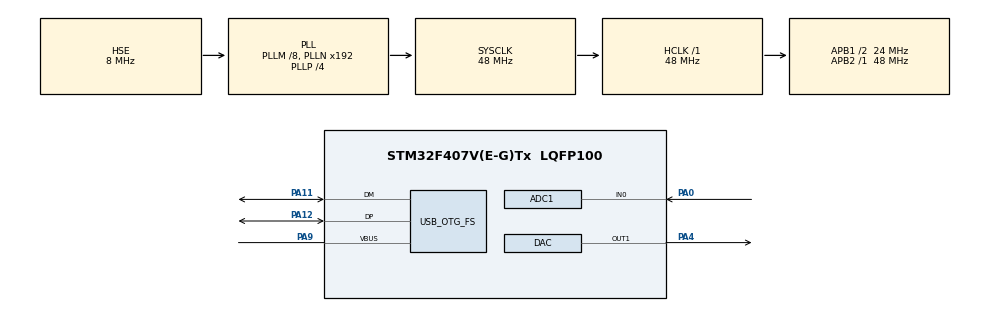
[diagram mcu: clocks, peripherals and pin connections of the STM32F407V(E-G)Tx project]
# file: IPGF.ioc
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ADC1.Channel-0\#ChannelRegularConversion=ADC_CHANNEL_0
ADC1.ClockPrescaler=ADC_CLOCK_SYNC_PCLK_DIV8
ADC1.ExternalTrigConv=ADC_EXTERNALTRIGCONV_T2_TRGO
ADC1.NbrOfConversionFlag=1
ADC1.Rank-0\#ChannelRegularConversion=1
ADC1.SamplingTime-0\#ChannelRegularConversion=ADC_SAMPLETIME_3CYCLES
ADC1.ScanConvMode=ENABLE
ADC1.master=1
DAC.DAC_OutputBuffer=DAC_OUTPUTBUFFER_ENABLE
Dma.ADC1.0.Direction=DMA_PERIPH_TO_MEMORY
Dma.ADC1.0.FIFOMode=DMA_FIFOMODE_DISABLE
Dma.ADC1.0.Instance=DMA2_Stream0
Dma.ADC1.0.MemDataAlignment=DMA_MDATAALIGN_HALFWORD
Dma.ADC1.0.MemInc=DMA_MINC_ENABLE
Dma.ADC1.0.Mode=DMA_NORMAL
Dma.ADC1.0.PeriphDataAlignment=DMA_PDATAALIGN_HALFWORD
Dma.ADC1.0.PeriphInc=DMA_PINC_DISABLE
Dma.ADC1.0.Priority=DMA_PRIORITY_LOW
Dma.Request0=ADC1
Mcu.Family=STM32F4
Mcu.Name=STM32F407V(E-G)Tx
Mcu.Package=LQFP100
NVIC.DMA2_Stream0_IRQn=true\:0\:0\:false\:false\:false\:false\:false
NVIC.OTG_FS_IRQn=true\:0\:0\:false\:false\:true\:false\:true
NVIC.PriorityGroup=NVIC_PRIORITYGROUP_4
NVIC.TIM2_IRQn=true\:0\:0\:false\:false\:true\:true\:true
PA0-WKUP.Signal=ADCx_IN0
PA11.Mode=Device_Only
PA11.Signal=USB_OTG_FS_DM
PA12.Mode=Device_Only
PA12.Signal=USB_OTG_FS_DP
PA13.Mode=Trace_Asynchronous_SW
PA13.Signal=SYS_JTMS-SWDIO
PA14.Mode=Trace_Asynchronous_SW
PA14.Signal=SYS_JTCK-SWCLK
PA4.Signal=COMP_DAC1_group
PA9.Mode=Activate_VBUS
PA9.Signal=USB_OTG_FS_VBUS
PB3.Mode=Trace_Asynchronous_SW
PB3.Signal=SYS_JTDO-SWO
PH0-OSC_IN.Mode=HSE-External-Oscillator
PH0-OSC_IN.Signal=RCC_OSC_IN
PH1-OSC_OUT.Mode=HSE-External-Oscillator
PH1-OSC_OUT.Signal=RCC_OSC_OUT
ProjectManager.HeapSize=0x200
ProjectManager.StackSize=0x400
ProjectManager.TargetToolchain=MDK-ARM V5.27
RCC.48MHZClocksFreq_Value=48000000
RCC.AHBFreq_Value=48000000
RCC.APB1CLKDivider=RCC_HCLK_DIV2
RCC.APB1Freq_Value=24000000
RCC.APB1TimFreq_Value=48000000
RCC.APB2Freq_Value=48000000
RCC.APB2TimFreq_Value=48000000
RCC.CortexFreq_Value=48000000
RCC.HCLKFreq_Value=48000000
RCC.HSE_VALUE=8000000
RCC.HSI_VALUE=16000000
RCC.LSE_VALUE=32768
RCC.PLLM=8
RCC.PLLP=RCC_PLLP_DIV4
RCC.SYSCLKFreq_VALUE=48000000
RCC.SYSCLKSource=RCC_SYSCLKSOURCE_PLLCLK
RCC.VCOOutputFreq_Value=192000000
SH.ADCx_IN0.0=ADC1_IN0,IN0
SH.COMP_DAC1_group.0=DAC_OUT1,DAC_OUT1
TIM2.Period=4799
TIM2.TIM_MasterOutputTrigger=TIM_TRGO_UPDATE
USB_DEVICE.CLASS_NAME_FS=CDC
USB_DEVICE.VirtualMode-CDC_FS=Cdc
USB_DEVICE.VirtualModeFS=Cdc_FS
USB_OTG_FS.VirtualMode=Device_Only
VP_TIM2_VS_ClockSourceINT.Mode=Internal
VP_USB_DEVICE_VS_USB_DEVICE_CDC_FS.Mode=CDC_FS
board=custom

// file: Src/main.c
/* USER CODE BEGIN Header */
/**
  ******************************************************************************
  * @file           : main.c
  * @brief          : Main program body
  ******************************************************************************
  * @attention
  *
  * <h2><center>&copy; Copyright (c) 2020 STMicroelectronics.
  * All rights reserved.</center></h2>
  *
  * This software component is licensed by ST under Ultimate Liberty license
  * SLA0044, the "License"; You may not use this file except in compliance with
  * the License. You may obtain a copy of the License at:
  *                             www.st.com/SLA0044
  *
  ******************************************************************************
  */
/* USER CODE END Header */

#include "main.h"
#include "adc.h"
#include "dac.h"
#include "dma.h"
#include "tim.h"
#include "usb_device.h"
#include "gpio.h"

/* USER CODE BEGIN Includes */
#include <stdlib.h>
#include "usbd_cdc_if.h"

/* USER CODE END Includes */

/* USER CODE BEGIN PV */
VAR v;
DMA_HandleTypeDef adc_dma;
osRtxMutex_t *mt;
osRtxThread_t *main_thread;
osRtxThread_t *adc_thread;

DECLARE_THREAD_ATTR(main,256,osPriorityNormal);
DECLARE_THREAD_ATTR(adc,256,osPriorityNormal);
/* USER CODE END PV */

void SystemClock_Config(void);

/* USER CODE BEGIN 0 */

/**
  * @brief  Вычисление среднего значения входного массива.
  * @param  buf - входной массив
  * @param  cnt - размер массива
  * @retval average value
  */

U32 os_calc_average(U16 *buf,U32 cnt)
{
 U32 res,i;
 res=0;
 for(i=0;i<cnt;i++)
  res+=buf[i];
 return res/cnt;
}

/**
  * @brief  Функция осуществляет перевод числа в строку. Строка без завершающего "0"
  * @param  val - входное значение
  * @param  str - выходная строка
  * @param  symbol_qty - максимальное число значащих символов(разрядов)
  * @retval длина выходной строки
  */

U32 os_int2str(U32 val,U8* str,U8 symbol_qty)
{
U32 sval,i;
 if ((str==0)||(symbol_qty==0))
  return 0;
 if (val==0)//проверка значения на ноль
  {str[0]='0';return 1;}// результирующая строка -"0" длиной 1
 i=0;sval=val;//подсчет десятичных разрядов в исходном числе
 while(val!=0)
 {
  i++;
  val=val/10;
 }
 if (i>symbol_qty)//Количество разрядов превышает заданое?
  i=symbol_qty;//если превышает,то установить заданое
 symbol_qty=i; //установить возвращаемую длину
 while((sval!=0)&&(i!=0))//проверка числа на 0 и на нулевую позицию
 {
  str[i-1]='0'+sval%10;//запись разряда числа в позицию справа
  sval/=10;//отбрость разряд
  i--;//сдвинуть позицию символа на 1 влево
 }
 return symbol_qty;
}

U32 HAL_GetTick(void)
{
return osRtxInfo.kernel.tick;
//return 0;
//return os_core.dwt->CYCCNT/(SystemCoreClock/1000);
}

/**
  * @brief  Вывод буфера через ITM-порт .
  * @param  buf - входной массив
  * @param  cnt - размер массива
  * @retval none
  */

void os_keil_write(U8* buf,U32 cnt)
{
 U32 i;
 for(i=0;i<cnt;i++)
 {
  ITM_SendChar(buf[i]);
 }
}

/**
  * @brief  Инициализация DMA ADC
  * @param  dma - адрес управляющей структуры DMA_HandleTypeDef
  * @retval none
  */

void os_adc_dma_init(DMA_HandleTypeDef *dma)
{
    dma->Instance = DMA2_Stream0;
    dma->Init.Channel = DMA_CHANNEL_0;
    dma->Init.Direction = DMA_PERIPH_TO_MEMORY;
    dma->Init.PeriphInc = DMA_PINC_DISABLE;
    dma->Init.MemInc = DMA_MINC_ENABLE;
    dma->Init.PeriphDataAlignment = DMA_PDATAALIGN_HALFWORD;
    dma->Init.MemDataAlignment = DMA_MDATAALIGN_HALFWORD;
    dma->Init.Mode = DMA_NORMAL;
    dma->Init.Priority = DMA_PRIORITY_LOW;
    dma->Init.FIFOMode = DMA_FIFOMODE_DISABLE;
    HAL_DMA_Init(dma);
}

/**
  * @brief  Функция обратного вызова,срабатывающая при возникновении события обновления счетчика таймера
  * @param  htim - адрес управляющей структуры TIM_HandleTypeDef
  * @retval none
  */

void HAL_TIM_PeriodElapsedCallback(TIM_HandleTypeDef *htim)
{
 if (htim==&htim2)
 {
  v.dac_cnt=(v.dac_cnt+1)%(ADC_SAMPLE_RATE/DAC_SAMPLE_RATE);// Увеличение счетчика количества прерываний таймера по модулю ADC_SAMPLE_RATE/DAC_SAMPLE_RATE
  if (v.dac_cnt==0)
  {
   LL_DAC_ConvertData12LeftAligned
      (DAC1,
       LL_DAC_CHANNEL_1,
       os_calc_average(v.buf.dac[v.dac_position],ADC_SAMPLE_RATE/DAC_SAMPLE_RATE)
      );// Запись в ЦАП усредненного значения в 100 выборок
   v.dac_position=(v.dac_position+1)%DAC_SAMPLE_RATE;// Увеличение счетчика позиции во входном буфере
  }
 }
}

/**
  * @brief  Функция работы АЦП.
  * @retval none
  */
void os_adc_run()
{
 while(1)
 {
  HAL_DMA_Start(&adc_dma,OS_TYPE(U32,&ADC1->DR),OS_TYPE(U32,&v.buf),10000);//Установка источника и приемника данных для DMA. Установка размера передаваемых данных и разрешение работы DMA*/
  LL_ADC_REG_SetDMATransfer(ADC1,LL_ADC_REG_DMA_TRANSFER_LIMITED);//Включение режима чтения данных АЦП через DMA
  LL_ADC_Enable(ADC1);// Включение АЦП
  LL_ADC_ClearFlag_EOCS(ADC1);//Очистка флага окончание преобразования
  LL_ADC_ClearFlag_OVR(ADC1);//Очистка флага переполнения. Обеспечение отсутствия неизвестного состояния от предыдущих измерений

  HAL_TIM_Base_Start_IT(&htim2);//Старт таймера TIM2 с устанавливаемым флагом прерывания по обновлению счетчика
  if (HAL_DMA_PollForTransfer(&adc_dma,HAL_DMA_FULL_TRANSFER,1500)==HAL_TIMEOUT) // Опрос флага окончания передачи DMA
  {
   MX_ADC1_Init();//при таймауте - переинициализация АЦП и
   continue;//прозвести измерения снова
  }
  else break;
 }
 HAL_TIM_Base_Stop(&htim2);//останов TIM2
 LL_ADC_Disable(ADC1);//Выключение АЦП
 CLEAR_BIT(ADC1->CR2,ADC_CR2_DMA);//Выключение режима DMA
 return;
}

/**
  * @brief  Функция основного потока
  * @retval none
  */
__NO_RETURN void main_threadf (void *argument)
{
 U32 len;
  MX_GPIO_Init();//Инициализация GPIO
  MX_USB_DEVICE_Init();//Инициализация USB CDC
  mt=osMutexNew(NULL);//Создание мютекса для доступа к разделяемой переменной v.average
  osThreadFlagsSet(adc_thread,APP_THREAD_FLAGS_START);// Сигнал потоку adc_thread для начала работы
  while (1)
  {
   osThreadFlagsWait(APP_THREAD_FLAGS_END_MEASURE,osFlagsWaitAny,osWaitForever);// Ожидание сигнала окончания преобразования
   if (osMutexAcquire(mt,10)==osOK)//Блокировать мютекс в течении 10 мс
   {
    len=os_int2str(v.average,v.out,4);//Перевод полученного среднего значения в строку
    memcpy(v.out+len," mV\r\n",6);// Добавление к этой строке смыслового окончания
    len=strlen(OS_TYPE(const char*,v.out));//Подсчет общей длины строки
    os_keil_write(v.out,len);//Вывод в терминал Keil'a строки
    if (hUsbDeviceFS.dev_state==USBD_STATE_CONFIGURED)// Проверить состояние устройства USB CDC
     CDC_Transmit_FS(v.out,len);// Если сконфигурировано,то вывести в USB
    osMutexRelease(mt); // Освобождение мютекса
   }
   else __nop();
  }
}

/**
  * @brief  Функция потока, производящего измерение с АЦП
  * @retval none
  */
__NO_RETURN void adc_threadf (void *argument)
{
  MX_DMA_Init();// Включить тактирование DMA
  MX_ADC1_Init();// Инициализация АЦП
  os_adc_dma_init(&adc_dma);//Инициализация DMA
  MX_DAC_Init();//Инициализация ЦАП
  MX_TIM2_Init();//Инициализация таймера TIM2
  osThreadFlagsWait(APP_THREAD_FLAGS_START,osFlagsWaitAny,osWaitForever);// Ожидать окончания инициализации периферийных устройств в главном потоке
  while (1)
  {
   os_adc_run();// Произвести измерения
   v.counter++;// Изменение счетчика "живучести"
   if (osMutexAcquire(mt,50)==osOK)//Блокировать мютекс в течении 50 мс
   {
    v.average=os_calc_average(v.buf.adc_sample,ADC_SAMPLE_RATE);//Подсчет среднего значения
    osMutexRelease(mt); //Освободить мютекс
    osThreadFlagsSet(main_thread,APP_THREAD_FLAGS_END_MEASURE);// Сигнализировать главному потоку об окончании цикла измерения
   }
  }
}

/* USER CODE END 0 */

int main(void)
{

  /* MCU Configuration--------------------------------------------------------*/

  /* Reset of all peripherals, Initializes the Flash interface and the Systick. */
  HAL_Init();

  /* Configure the system clock */
  SystemClock_Config();

  /* USER CODE BEGIN SysInit */
 __enable_irq();
	osKernelInitialize();                 // Инициализация CMSIS-RTOS
	main_thread=osThreadNew(main_threadf, NULL, &os_main_thread_attr);  // Создание главного потока
	adc_thread =osThreadNew(adc_threadf, NULL, &os_adc_thread_attr);    // Создание потока АЦП
	if (osKernelGetState() == osKernelReady)
	{
		osKernelStart();                    // Старт RTOS
	}
  /* USER CODE END SysInit */
}

void SystemClock_Config(void)
{
  RCC_OscInitTypeDef RCC_OscInitStruct = {0};
  RCC_ClkInitTypeDef RCC_ClkInitStruct = {0};

  /** Configure the main internal regulator output voltage
  */
  __HAL_RCC_PWR_CLK_ENABLE();
  __HAL_PWR_VOLTAGESCALING_CONFIG(PWR_REGULATOR_VOLTAGE_SCALE1);
  /** Initializes the CPU, AHB and APB busses clocks
  */
  RCC_OscInitStruct.OscillatorType = RCC_OSCILLATORTYPE_HSE;
  RCC_OscInitStruct.HSEState = RCC_HSE_ON;
  RCC_OscInitStruct.PLL.PLLState = RCC_PLL_ON;
  RCC_OscInitStruct.PLL.PLLSource = RCC_PLLSOURCE_HSE;
  RCC_OscInitStruct.PLL.PLLM = 8;
  RCC_OscInitStruct.PLL.PLLN = 192;
  RCC_OscInitStruct.PLL.PLLP = RCC_PLLP_DIV4;
  RCC_OscInitStruct.PLL.PLLQ = 4;
  if (HAL_RCC_OscConfig(&RCC_OscInitStruct) != HAL_OK)
  {
    Error_Handler();
  }
  /** Initializes the CPU, AHB and APB busses clocks
  */
  RCC_ClkInitStruct.ClockType = RCC_CLOCKTYPE_HCLK|RCC_CLOCKTYPE_SYSCLK
                              |RCC_CLOCKTYPE_PCLK1|RCC_CLOCKTYPE_PCLK2;
  RCC_ClkInitStruct.SYSCLKSource = RCC_SYSCLKSOURCE_PLLCLK;
  RCC_ClkInitStruct.AHBCLKDivider = RCC_SYSCLK_DIV1;
  RCC_ClkInitStruct.APB1CLKDivider = RCC_HCLK_DIV2;
  RCC_ClkInitStruct.APB2CLKDivider = RCC_HCLK_DIV1;

  if (HAL_RCC_ClockConfig(&RCC_ClkInitStruct, FLASH_LATENCY_1) != HAL_OK)
  {
    Error_Handler();
  }
}

void Error_Handler(void)
{
}

/************************ (C) COPYRIGHT STMicroelectronics *****END OF FILE****/
